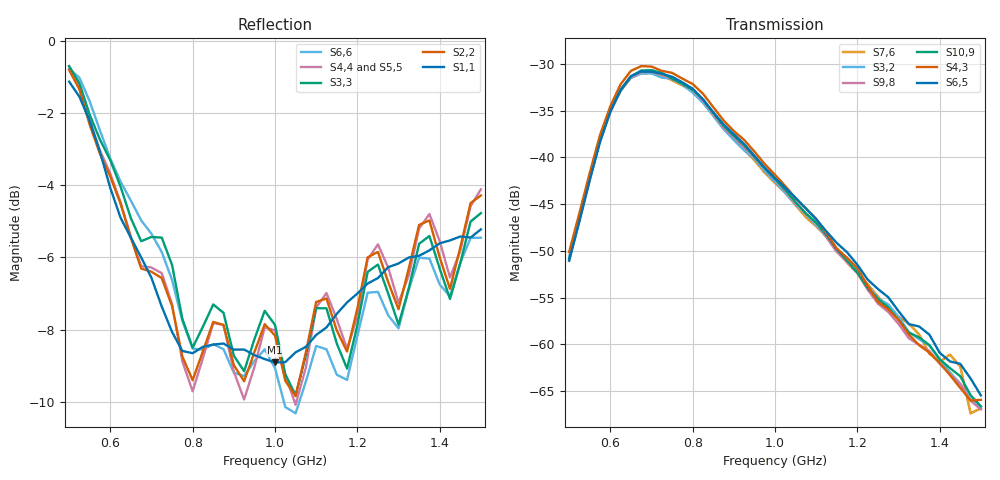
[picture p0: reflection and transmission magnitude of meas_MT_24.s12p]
! 12-antenna multistatic S-parameters, converted from meas_MT_24.mat
! VNA: 0 dBm, IF bandwidth 100 Hz, averages 1
! Row = receiving antenna m, column = transmitting antenna n (S_mn)
# Hz S RI R 50
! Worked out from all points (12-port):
!   41 points, 500 MHz to 1.5 GHz, reference 50 ohm
!   strongest paths, dB at 500 MHz, 750 MHz, 1 GHz, 1.25 GHz, 1.5 GHz:
!     S6,5: -51.0, -31.4, -42.2, -54.1, -65.4
!     S4,3: -50.1, -31.0, -41.9, -55.4, -65.9
!     S10,9: -50.9, -31.6, -42.3, -55.1, -66.6
!     S9,8: -51.1, -31.6, -42.4, -55.6, -66.9
!     S3,2: -50.7, -31.6, -42.6, -55.0, -66.7
!     S7,6: -50.7, -31.7, -42.7, -54.9, -66.8
!   lowest |S11| = -8.9 dB at 1 GHz (marker M1), VSWR 2.12, Z = 28.6 + j19.6 ohm
!   |S11| at or under -10 dB: nowhere
